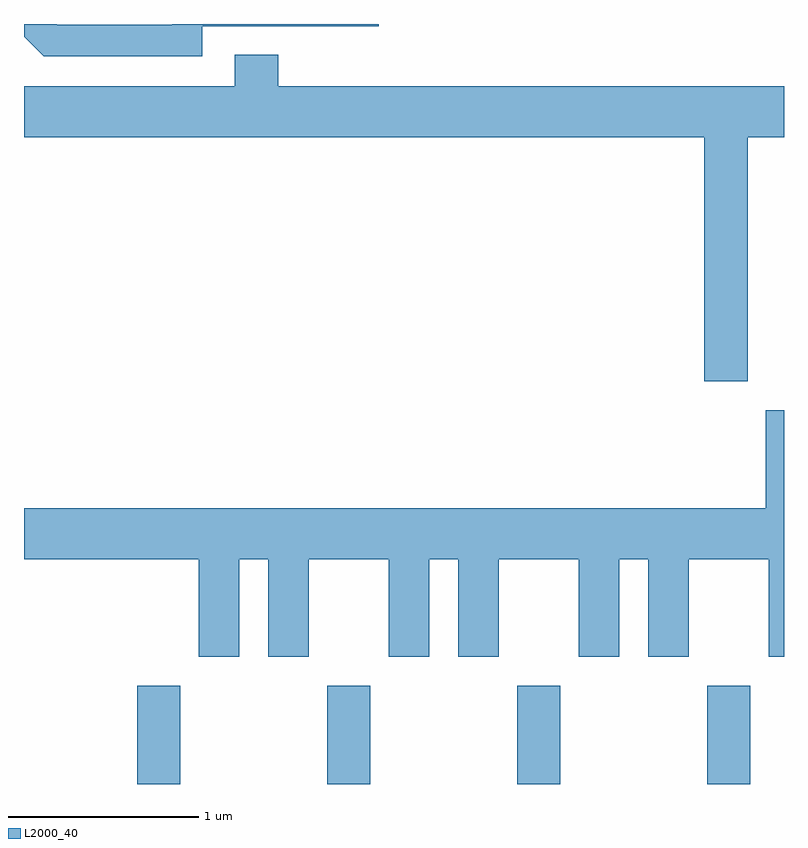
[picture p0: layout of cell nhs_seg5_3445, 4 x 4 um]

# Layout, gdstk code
import gdstk
lib = gdstk.Library(unit=1e-6, precision=1e-09)
def R(c, l, rs):  # rectangles x0, y0, x1, y1
    for r in rs: c.add(gdstk.rectangle(r[:2], r[2:], *l))
def A(c, l, x, y, w, h, nx, ny, dx, dy):  # array of equal rectangles
    R(c, l, [(x+i*dx, y+j*dy, x+i*dx+w, y+j*dy+h) for i in range(nx) for j in range(ny)])
def P(c, l, *ps):  # polygons
    for p in ps: c.add(gdstk.Polygon(p, *l))
L2000_40 = (2000, 40)

nhs_seg5_3445 = lib.new_cell('nhs_seg5_3445')
A(nhs_seg5_3445, L2000_40, 288.206, 1440.072, 0.228, 0.517, 4, 1, 1, 0)
P(nhs_seg5_3445, L2000_40, [(288.549,1444.061),(289.478,1444.061),(289.478,1444.072),(288.391,1444.072),(288.391,1444.069),(287.787,1444.069),(287.784,1444.072),(287.611,1444.072),(287.611,1444.004),(287.714,1443.901),(288.549,1443.901)],
  [(291.419,1443.476),(291.611,1443.476),(291.611,1443.744),(288.949,1443.744),(288.949,1443.909),(288.721,1443.909),(288.721,1443.744),(287.611,1443.744),(287.611,1443.476),(291.191,1443.476),(291.191,1442.191),(291.419,1442.191)],
  [(288.744,1441.256),(288.896,1441.256),(288.896,1440.741),(289.109,1440.741),(289.109,1441.256),(289.531,1441.256),(289.531,1440.741),(289.744,1440.741),(289.744,1441.256),(289.896,1441.256),(289.896,1440.741),(290.109,1440.741),(290.109,1441.256),(290.531,1441.256),(290.531,1440.741),(290.744,1440.741),(290.744,1441.256),(290.896,1441.256),(290.896,1440.741),(291.109,1440.741),(291.109,1441.256),(291.531,1441.256),(291.531,1440.741),(291.611,1440.741),(291.611,1442.039),(291.516,1442.039),(291.516,1441.524),(287.611,1441.524),(287.611,1441.256),(288.531,1441.256),(288.531,1440.741),(288.744,1440.741)])

lib.write_gds('nhs_seg5_3445.gds')
